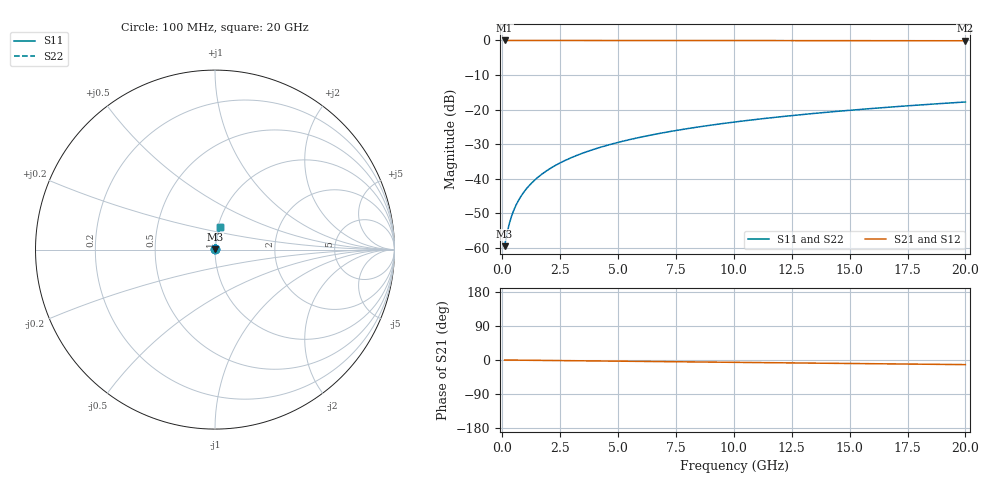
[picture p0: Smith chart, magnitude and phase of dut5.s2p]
! Touchstone file exported from HFSS 2026.1.0
!  File:  C:/ffzhzh/LocalFiles/Ansys_Project_Files/temp_val_TSV_5_1782974816_45748.aedt
!  Generated:  02:48:54 PM Jul  2, 2026
!  Design:  TSV
!  Project:  temp_val_TSV_5_1782974816_45748
! Variables:
!  h_bsmrdl = 2um
!  h_ox = 20um
!  h_rdl = 5um
!  h_sub = 95um
!  h_tmrdl = 5um
!  h_tsv = 95um
!  h_via = 3um
!  l_bsmrdl = 300um
!  l_sub = 407.48um
!  l_tmrdl = 200um
!  m_sub = 200um
!  pitch = 49.66um
!  r_tsv = 3.74um
!  s_tmrdl = 10um
!  w_bsmrdl = 18um
!  w_sub = 500um
!  w_tmrdl = 12um
!  x_tsv_center1 = 206um
!  x_tsv_center2 = 524um
!  x_tsv_center3 = 736um
!  x_tsv_center4 = 1054um
!  x_tsv_center5 = 1266um
!  x_tsv_center6 = 1584um
# GHz S MA R 50.000000
! Terminal data exported
! Port[1] = TSV1_1_T1
! Port[2] = TSV1_1_T2
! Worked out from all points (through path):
!   200 points, 100 MHz to 20 GHz, reference 50 ohm
!   highest |S21| = -0.01 dB at 100 MHz (marker M1); lowest = -0.1 dB at 20 GHz (marker M2)
!   group delay of S21, straight-line fit = 1.69 ps
!   lowest |S11| = -59.5 dB at 100 MHz (marker M3), VSWR 1.00, Z = 50.1 + j0.0693 ohm
!   |S11| at or under -10 dB: start of sweep to end of sweep
!   |S22| runs from -59.5 to -17.8 dB; largest |S21 - S12| = 2.7e-15
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0.1  0.001058 40.9  0.9992 -0.1  0.9992 -0.1  0.001058 40.9
! Gamma 0 0 0 0
! Port Impedance 50 0 50 0
0.2  0.001601 59.6  0.9992 -0.1  0.9992 -0.1  0.001601 59.6
0.3  0.002223 68.2  0.9992 -0.2  0.9992 -0.2  0.002223 68.2
0.4  0.00287 72.9  0.9992 -0.3  0.9992 -0.3  0.00287 72.9
0.5  0.003528 75.9  0.9992 -0.3  0.9992 -0.3  0.003528 75.9
0.6  0.004191 77.9  0.9991 -0.4  0.9991 -0.4  0.004191 77.9
0.8  0.005526 80.5  0.9991 -0.5  0.9991 -0.5  0.005526 80.5
1.1  0.00754 82.5  0.9991 -0.7  0.9991 -0.7  0.00754 82.5
1.5  0.01023 83.8  0.999 -0.9  0.999 -0.9  0.01023 83.8
1.8  0.01225 84.3  0.9989 -1.1  0.9989 -1.1  0.01225 84.3
2.1  0.01427 84.6  0.9989 -1.3  0.9989 -1.3  0.01427 84.6
2.7  0.01829 84.9  0.9987 -1.7  0.9987 -1.7  0.01829 84.9
3.5  0.02363 84.8  0.9985 -2.2  0.9985 -2.2  0.02363 84.8
4.2  0.02826 84.6  0.9982 -2.6  0.9982 -2.6  0.02826 84.6
5  0.03353 84.3  0.9979 -3.1  0.9979 -3.1  0.03353 84.3
5.9  0.03942 83.9  0.9975 -3.7  0.9975 -3.7  0.03942 83.9
6.8  0.04527 83.5  0.9971 -4.2  0.9971 -4.2  0.04527 83.5
8.3  0.05497 82.7  0.9964 -5.1  0.9964 -5.1  0.05497 82.7
10.1  0.06653 81.8  0.9955 -6.2  0.9955 -6.2  0.06653 81.8
13.4  0.08754 80.1  0.9935 -8.2  0.9935 -8.2  0.08754 80.1
16.7  0.1083 78.2  0.9912 -10.2  0.9912 -10.2  0.1083 78.2
20  0.1288 76.4  0.9885 -12.2  0.9885 -12.2  0.1288 76.4
